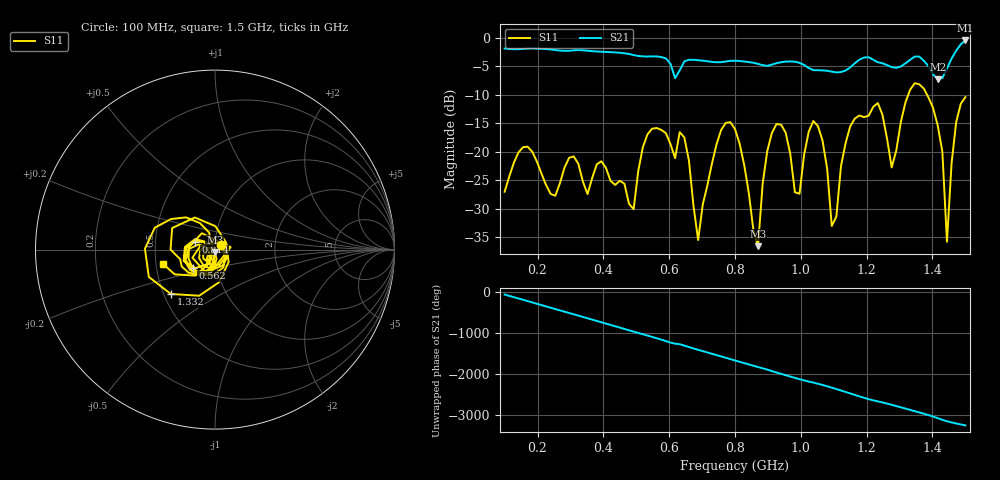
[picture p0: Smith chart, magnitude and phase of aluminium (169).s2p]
! NanoVNA-App
! Date: 2025-09-25 14:56:35
! Start: 100MHz Stop: 1,5GHz Points: 101
! S-Parameter data: F S11 S21 S12 S22
# Hz S RI R 50
!  Frequency  S11_Real  S11_Imag  S21_Real  S21_Imag  S12_Real  S12_Imag  S22_Real  S22_Imag
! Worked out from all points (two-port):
!   101 points, 100 MHz to 1.5 GHz, reference 50 ohm
!   highest |S21| = -0.49 dB at 1.5 GHz (marker M1); lowest = -7.3 dB at 1.416 GHz (marker M2)
!   |S21| within 3 dB of the highest: start of sweep to 581.3 MHz; 1.46 GHz to end of sweep (the widest 2 of 4)
!   lowest |S11| = -36.5 dB at 870 MHz (marker M3), VSWR 1.03, Z = 49.9 - j1.48 ohm
!   |S11| at or under -10 dB: start of sweep to 1.326 GHz; 1.383 GHz to end of sweep
!   S12 and S22 are empty: the file has one direction only
!   S11 on the Smith chart (normalised r, x): 100 MHz: 1.07, +0.06; 562 MHz: 0.76, -0.16; 814 MHz: 0.80, +0.07; 1.332 GHz: 0.54, -0.31; 1.5 GHz: 0.54, -0.09
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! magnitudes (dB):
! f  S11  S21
! 100 MHz  -27.0  -1.9
! 338 MHz  -25.2  -2.2
! 492 MHz  -30.0  -3.1
! 562 MHz  -15.8  -3.3
! 576 MHz  -16.2  -3.4
! 646 MHz  -17.5  -4.2
! 688 MHz  -35.5  -4.0
! 800 MHz  -16.0  -4.0
! 814 MHz  -18.6  -4.1
! 870 MHz  -36.5  -4.6
! 912 MHz  -16.7  -4.7
! 996 MHz  -27.3  -4.4
! 1.038 GHz  -14.6  -5.7
! 1.094 GHz  -33.0  -5.9
! 1.164 GHz  -14.2  -4.5
! 1.234 GHz  -11.5  -4.3
! 1.276 GHz  -22.7  -5.2
! 1.332 GHz  -9.1  -3.9
! 1.416 GHz  -15.4  -7.3
! 1.444 GHz  -35.8  -5.4
! 1.472 GHz  -14.8  -2.3
! 1.5 GHz  -10.4  -0.5
